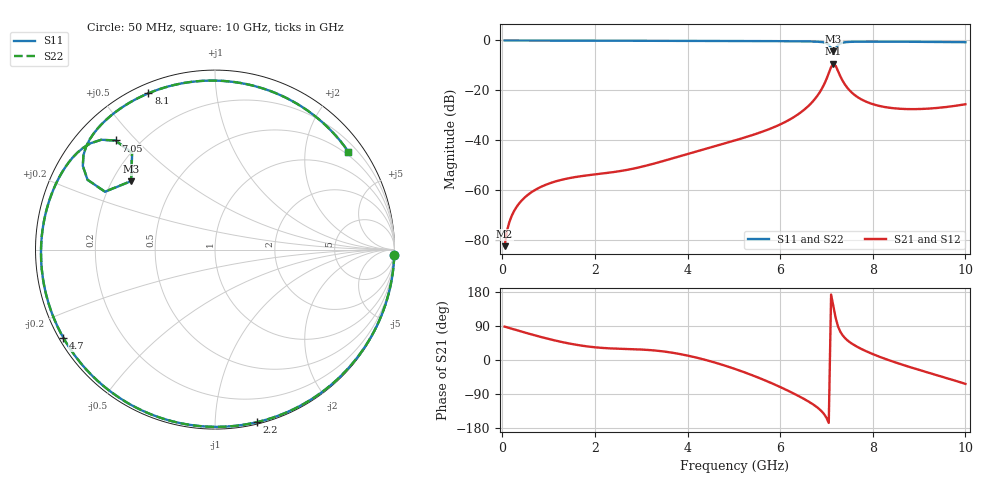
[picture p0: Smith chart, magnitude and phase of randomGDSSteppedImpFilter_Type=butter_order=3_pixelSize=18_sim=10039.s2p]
! freq	dB(S11)	phase(S11)	dB(S12)	phase(S12)
!  dB(S21)	phase(S21)	dB(S22)	phase(S22)
!S-par simulation data
#  GHz  S  DB  R 50
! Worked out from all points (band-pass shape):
!   200 points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, 50 MHz to 10 GHz, reference 50 ohm
!   highest |S21| = -9.29 dB at 7.15 GHz (marker M1); lowest = -82.3 dB at 50 MHz (marker M2)
!   |S21| within 3 dB of the highest: 7.066 GHz to 7.25 GHz (183.8 MHz wide, 2.57 % of centre)
!   lowest |S11| = -4.4 dB at 7.15 GHz (marker M3), VSWR 4.04, Z = 13.9 + j16.6 ohm
!   |S11| at or under -10 dB: nowhere
!   |S22| runs from -4.4 to 0.0 dB; largest |S21 - S12| = 0
!   S11 on the Smith chart (normalised r, x): 50 MHz: 1, -62; 2.2 GHz: 0.01, -1.27; 4.7 GHz: 0.01, -0.27; 7.05 GHz: 0.12, +0.44; 8.1 GHz: 0.04, +0.66; 10 GHz: 0.42, +3.01
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0.05  -0.00 -1.9  -82.29 88.1  -82.29 88.1  -0.00 -1.9
0.15  -0.01 -5.5  -72.78 84.5  -72.78 84.5  -0.01 -5.5
0.25  -0.01 -9.1  -68.39 80.9  -68.39 80.9  -0.01 -9.1
0.55  -0.02 -19.9  -61.79 70.3  -61.79 70.3  -0.02 -19.9
1.05  -0.05 -37.7  -56.97 54.1  -56.97 54.1  -0.05 -37.7
1.75  -0.08 -61.6  -54.17 37.2  -54.17 37.2  -0.08 -61.6
2.2  -0.09 -76.3  -53.15 31.5  -53.15 31.5  -0.09 -76.3
3.4  -0.14 -113.0  -48.63 23.7  -48.63 23.7  -0.14 -113.0
4.7  -0.20 -149.8  -41.71 -10.7  -41.71 -10.7  -0.20 -149.8
5.05  -0.22 -159.5  -39.85 -24.7  -39.85 -24.7  -0.22 -159.5
6.1  -0.30 170.7  -32.70 -76.9  -32.70 -76.9  -0.30 170.7
6.7  -0.43 151.1  -24.51 -116.3  -24.51 -116.3  -0.43 151.1
6.9  -0.65 142.3  -19.32 -135.8  -19.32 -135.8  -0.65 142.3
7.05  -1.70 132.3  -13.08 -166.0  -13.08 -166.0  -1.70 132.4
7.15  -4.39 140.8  -9.29 141.8  -9.29 141.8  -4.38 140.8
7.25  -1.84 151.3  -12.28 88.4  -12.28 88.4  -1.83 151.3
7.35  -0.89 144.2  -16.17 65.0  -16.17 65.0  -0.89 144.2
7.65  -0.50 129.9  -22.39 35.7  -22.39 35.7  -0.50 129.9
8.1  -0.48 113.1  -26.01 10.7  -26.01 10.7  -0.48 113.1
8.35  -0.49 103.9  -26.89 -0.6  -26.89 -0.6  -0.49 104.0
9.2  -0.58 71.0  -27.27 -33.4  -27.27 -33.4  -0.58 71.0
10  -0.71 36.2  -25.53 -63.0  -25.53 -63.0  -0.71 36.2
